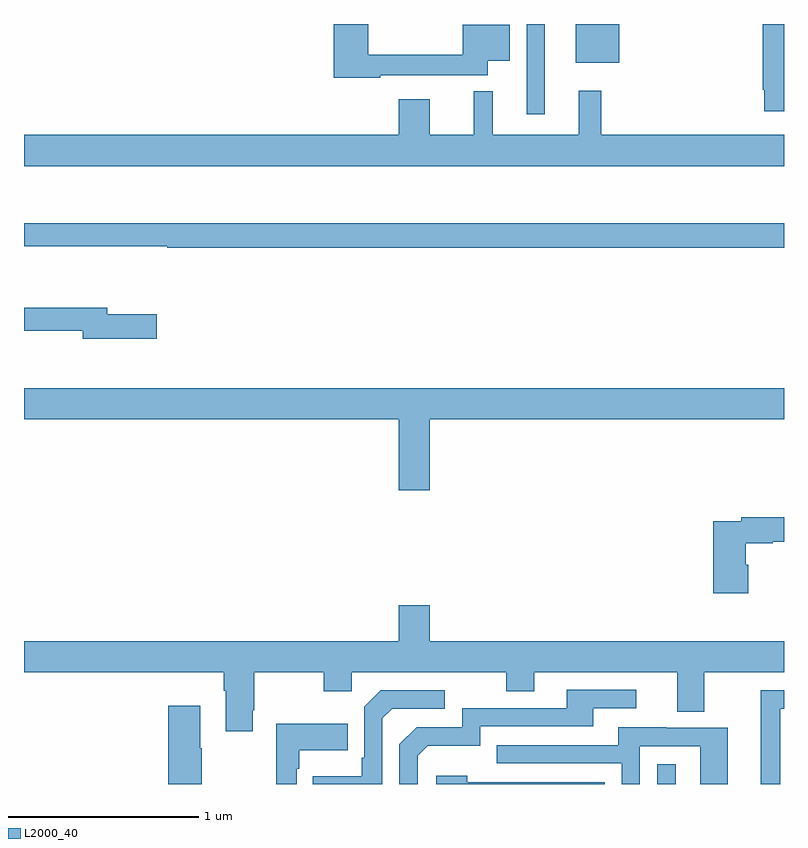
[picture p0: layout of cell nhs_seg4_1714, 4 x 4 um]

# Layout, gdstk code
import gdstk
lib = gdstk.Library(unit=1e-6, precision=1e-09)
def R(c, l, rs):  # rectangles x0, y0, x1, y1
    for r in rs: c.add(gdstk.rectangle(r[:2], r[2:], *l))
def P(c, l, *ps):  # polygons
    for p in ps: c.add(gdstk.Polygon(p, *l))
L2000_40 = (2000, 40)

nhs_seg4_1714 = lib.new_cell('nhs_seg4_1714')
R(nhs_seg4_1714, L2000_40, [(202.332,794.9,202.429,795.004), (201.645,798.426,201.742,798.9), (201.905,798.695,202.132,798.9)])
P(nhs_seg4_1714, L2000_40, [(203,798.9),(202.888,798.9),(202.888,798.553),(202.896,798.553),(202.896,798.441),(203,798.441)],
  [(200.876,798.63),(201.442,798.63),(201.442,798.707),(201.556,798.707),(201.556,798.895),(201.308,798.895),(201.308,798.739),(200.813,798.739),(200.813,798.9),(200.63,798.9),(200.63,798.618),(200.876,798.618)],
  [(203,798.316),(202.037,798.316),(202.037,798.55),(201.92,798.55),(201.92,798.316),(201.467,798.316),(201.467,798.545),(201.368,798.545),(201.368,798.316),(201.136,798.316),(201.136,798.505),(200.972,798.505),(200.972,798.316),(199,798.316),(199,798.152),(203,798.152)],
  [(203,797.851),(199,797.851),(199,797.73),(199.755,797.73),(199.755,797.722),(203,797.722)],
  [(199.699,797.373),(199.438,797.373),(199.438,797.407),(199,797.407),(199,797.286),(199.31,797.286),(199.31,797.243),(199.699,797.243)],
  [(201.136,796.82),(203,796.82),(203,796.984),(199,796.984),(199,796.82),(200.972,796.82),(200.972,796.446),(201.136,796.446)],
  [(202.811,796.053),(202.798,796.053),(202.798,796.168),(202.941,796.168),(202.941,796.176),(203,796.176),(203,796.304),(202.774,796.304),(202.774,796.284),(202.628,796.284),(202.628,795.903),(202.811,795.903)],
  [(200.203,795.289),(200.211,795.289),(200.211,795.488),(200.578,795.488),(200.578,795.389),(200.724,795.389),(200.724,795.488),(201.538,795.488),(201.538,795.389),(201.685,795.389),(201.685,795.488),(202.439,795.488),(202.439,795.28),(202.579,795.28),(202.579,795.488),(203,795.488),(203,795.652),(201.136,795.652),(201.136,795.841),(200.972,795.841),(200.972,795.652),(199,795.652),(199,795.488),(200.051,795.488),(200.051,795.392),(200.063,795.392),(200.063,795.177),(200.203,795.177)],
  [(201.072,795.048),(201.125,795.101),(201.402,795.101),(201.402,795.204),(201.997,795.204),(201.997,795.3),(202.222,795.3),(202.222,795.396),(201.857,795.396),(201.857,795.3),(201.306,795.3),(201.306,795.198),(201.066,795.198),(200.976,795.108),(200.976,794.9),(201.072,794.9)],
  [(202.981,795.297),(203,795.297),(203,795.393),(202.877,795.393),(202.877,794.9),(202.981,794.9)],
  [(200.886,795.246),(200.937,795.297),(201.214,795.297),(201.214,795.393),(200.877,795.393),(200.79,795.306),(200.79,795.037),(200.778,795.037),(200.778,794.941),(200.521,794.941),(200.521,794.9),(200.886,794.9)],
  [(199.935,795.089),(199.927,795.089),(199.927,795.313),(199.76,795.313),(199.76,794.9),(199.935,794.9)],
  [(200.436,794.981),(200.449,794.981),(200.449,795.077),(200.705,795.077),(200.705,795.217),(200.328,795.217),(200.328,794.9),(200.436,794.9)],
  [(202.242,795.099),(202.56,795.099),(202.56,794.9),(202.705,794.9),(202.705,795.195),(202.381,795.195),(202.381,795.199),(202.127,795.199),(202.127,795.105),(201.487,795.105),(201.487,795.009),(202.146,795.009),(202.146,794.9),(202.242,794.9)],
  [(202.056,794.91),(201.332,794.91),(201.332,794.944),(201.171,794.944),(201.171,794.9),(202.056,794.9)])

lib.write_gds('nhs_seg4_1714.gds')
